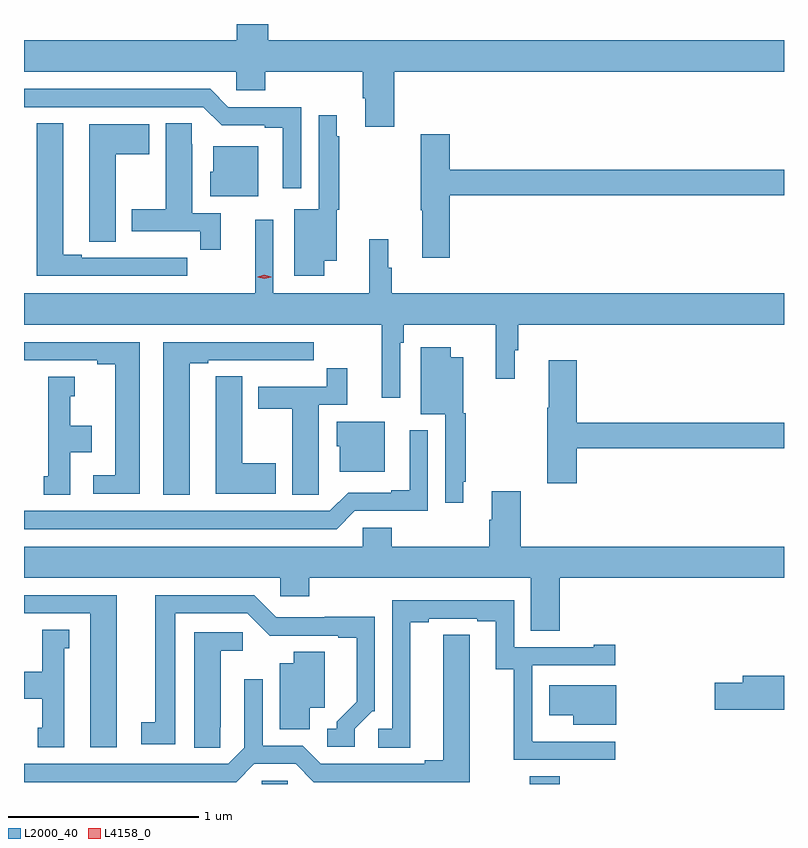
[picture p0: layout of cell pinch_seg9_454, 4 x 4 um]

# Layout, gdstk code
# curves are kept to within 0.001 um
import gdstk
lib = gdstk.Library(unit=1e-6, precision=1e-09)
def R(c, l, rs):  # rectangles x0, y0, x1, y1
    for r in rs: c.add(gdstk.rectangle(r[:2], r[2:], *l))
def P(c, l, *ps):  # polygons
    for p in ps: c.add(gdstk.Polygon(p, *l))
L2000_40 = (2000, 40)
L4158_0 = (4158, 0)

pinch_seg9_454 = lib.new_cell('pinch_seg9_454')
R(pinch_seg9_454, L2000_40, [(172.053,1179.35,172.191,1179.366), (173.464,1179.35,173.624,1179.392)])
P(pinch_seg9_454, L2000_40, [(172.751,1183.1),(174.803,1183.1),(174.803,1183.264),(172.088,1183.264),(172.088,1183.35),(171.923,1183.35),(171.923,1183.264),(170.803,1183.264),(170.803,1183.1),(171.921,1183.1),(171.921,1183.002),(172.073,1183.002),(172.073,1183.1),(172.586,1183.1),(172.586,1182.958),(172.598,1182.958),(172.598,1182.81),(172.751,1182.81)],
  [(172.263,1182.912),(171.879,1182.912),(171.783,1183.008),(170.803,1183.008),(170.803,1182.912),(171.747,1182.912),(171.843,1182.816),(172.07,1182.816),(172.07,1182.804),(172.166,1182.804),(172.166,1182.486),(172.263,1182.486)],
  [(172.384,1182.104),(172.45,1182.104),(172.45,1182.372),(172.462,1182.372),(172.462,1182.758),(172.45,1182.758),(172.45,1182.871),(172.353,1182.871),(172.353,1182.376),(172.226,1182.376),(172.226,1182.024),(172.384,1182.024)],
  [(171.661,1182.12),(171.548,1182.12),(171.548,1182.121),(171.382,1182.121),(171.382,1182.12),(171.106,1182.12),(171.106,1182.135),(171.01,1182.135),(171.01,1182.827),(170.87,1182.827),(170.87,1182.024),(171.661,1182.024)],
  [(171.839,1182.354),(171.688,1182.354),(171.688,1182.716),(171.687,1182.716),(171.687,1182.827),(171.548,1182.827),(171.548,1182.375),(171.371,1182.375),(171.371,1182.258),(171.73,1182.258),(171.73,1182.162),(171.839,1182.162)],
  [(171.286,1182.664),(171.463,1182.664),(171.463,1182.823),(171.146,1182.823),(171.146,1182.313),(171.147,1182.313),(171.147,1182.205),(171.286,1182.205)],
  [(173.045,1182.448),(174.803,1182.448),(174.803,1182.584),(173.045,1182.584),(173.045,1182.769),(172.891,1182.769),(172.891,1182.371),(172.898,1182.371),(172.898,1182.12),(173.045,1182.12)],
  [(172.036,1182.706),(171.8,1182.706),(171.8,1182.573),(171.782,1182.573),(171.782,1182.443),(172.036,1182.443)],
  [(172.782,1181.672),(172.802,1181.672),(172.802,1181.768),(173.287,1181.768),(173.287,1181.484),(173.386,1181.484),(173.386,1181.634),(173.405,1181.634),(173.405,1181.768),(174.803,1181.768),(174.803,1181.932),(172.739,1181.932),(172.739,1182.066),(172.72,1182.066),(172.72,1182.217),(172.621,1182.217),(172.621,1181.932),(172.116,1181.932),(172.116,1182.319),(172.019,1182.319),(172.019,1181.932),(170.803,1181.932),(170.803,1181.768),(172.685,1181.768),(172.685,1181.382),(172.782,1181.382)],
  [(171.412,1181.676),(170.803,1181.676),(170.803,1181.58),(171.188,1181.58),(171.188,1181.56),(171.284,1181.56),(171.284,1180.974),(171.168,1180.974),(171.168,1180.878),(171.412,1180.878)],
  [(171.676,1181.565),(171.772,1181.565),(171.772,1181.58),(172.048,1181.58),(172.048,1181.579),(172.214,1181.579),(172.214,1181.58),(172.327,1181.58),(172.327,1181.676),(171.536,1181.676),(171.536,1180.873),(171.676,1180.873)],
  [(173.116,1180.942),(173.128,1180.942),(173.128,1181.301),(173.116,1181.301),(173.116,1181.596),(173.05,1181.596),(173.05,1181.65),(172.892,1181.65),(172.892,1181.297),(173.019,1181.297),(173.019,1180.83),(173.116,1180.83)],
  [(173.711,1181.116),(174.803,1181.116),(174.803,1181.252),(173.711,1181.252),(173.711,1181.581),(173.564,1181.581),(173.564,1181.329),(173.557,1181.329),(173.557,1180.932),(173.711,1180.932)],
  [(172.353,1180.984),(172.354,1180.984),(172.354,1181.346),(172.505,1181.346),(172.505,1181.539),(172.396,1181.539),(172.396,1181.442),(172.037,1181.442),(172.037,1181.326),(172.214,1181.326),(172.214,1180.873),(172.353,1180.873)],
  [(172.129,1181.037),(171.952,1181.037),(171.952,1181.495),(171.813,1181.495),(171.813,1181.387),(171.812,1181.387),(171.812,1180.877),(172.129,1180.877)],
  [(171.046,1181.096),(171.16,1181.096),(171.16,1181.236),(171.046,1181.236),(171.046,1181.391),(171.07,1181.391),(171.07,1181.494),(170.93,1181.494),(170.93,1180.971),(170.906,1180.971),(170.906,1180.873),(171.046,1180.873)],
  [(172.702,1181.257),(172.448,1181.257),(172.448,1181.127),(172.466,1181.127),(172.466,1180.994),(172.702,1180.994)],
  [(172.545,1180.788),(172.929,1180.788),(172.929,1181.212),(172.832,1181.212),(172.832,1180.897),(172.736,1180.897),(172.736,1180.884),(172.509,1180.884),(172.413,1180.788),(170.803,1180.788),(170.803,1180.692),(172.449,1180.692)],
  [(173.624,1180.436),(174.803,1180.436),(174.803,1180.6),(173.417,1180.6),(173.417,1180.891),(173.264,1180.891),(173.264,1180.742),(173.252,1180.742),(173.252,1180.6),(172.739,1180.6),(172.739,1180.698),(172.587,1180.698),(172.587,1180.6),(170.803,1180.6),(170.803,1180.436),(172.152,1180.436),(172.152,1180.338),(172.304,1180.338),(172.304,1180.436),(173.471,1180.436),(173.471,1180.156),(173.624,1180.156)],
  [(172.545,1179.642),(172.635,1179.732),(172.65,1179.732),(172.65,1180.229),(172.387,1180.229),(172.387,1180.227),(172.131,1180.227),(172.014,1180.344),(171.494,1180.344),(171.494,1179.674),(171.42,1179.674),(171.42,1179.558),(171.598,1179.558),(171.598,1180.248),(171.978,1180.248),(172.096,1180.13),(172.457,1180.131),(172.457,1180.119),(172.553,1180.119),(172.553,1179.782),(172.448,1179.677),(172.448,1179.642),(172.398,1179.642),(172.398,1179.546),(172.545,1179.546)],
  [(171.292,1180.344),(170.803,1180.344),(170.803,1180.248),(171.152,1180.248),(171.152,1179.543),(171.292,1179.543)],
  [(173.914,1179.573),(173.48,1179.573),(173.48,1179.574),(173.478,1179.574),(173.478,1179.975),(173.914,1179.975),(173.914,1180.084),(173.801,1180.084),(173.801,1180.071),(173.382,1180.071),(173.382,1180.317),(172.74,1180.317),(172.74,1179.642),(172.668,1179.642),(172.668,1179.541),(172.837,1179.541),(172.837,1180.201),(172.933,1180.201),(172.933,1180.221),(173.189,1180.221),(173.189,1180.206),(173.285,1180.206),(173.285,1179.955),(173.38,1179.955),(173.38,1179.477),(173.914,1179.477)],
  [(171.016,1180.065),(171.04,1180.065),(171.04,1180.163),(170.9,1180.163),(170.9,1179.94),(170.803,1179.94),(170.803,1179.8),(170.9,1179.8),(170.9,1179.645),(170.876,1179.645),(170.876,1179.543),(171.016,1179.543)],
  [(171.837,1179.649),(171.838,1179.649),(171.838,1180.052),(171.955,1180.052),(171.955,1180.149),(171.698,1180.149),(171.698,1179.541),(171.837,1179.541)],
  [(172.015,1179.456),(172.233,1179.456),(172.329,1179.36),(173.149,1179.36),(173.148,1180.136),(173.009,1180.136),(173.009,1179.476),(172.913,1179.476),(172.913,1179.456),(172.365,1179.456),(172.269,1179.552),(172.059,1179.552),(172.059,1179.901),(171.963,1179.901),(171.963,1179.54),(171.879,1179.456),(170.803,1179.456),(170.803,1179.36),(171.919,1179.36)],
  [(172.306,1179.752),(172.387,1179.752),(172.387,1180.046),(172.223,1180.046),(172.223,1179.985),(172.148,1179.985),(172.148,1179.637),(172.306,1179.637)],
  [(174.803,1179.92),(174.587,1179.92),(174.587,1179.884),(174.438,1179.884),(174.438,1179.742),(174.803,1179.742)],
  [(173.92,1179.871),(173.568,1179.871),(173.568,1179.713),(173.693,1179.713),(173.693,1179.662),(173.92,1179.662)])
P(pinch_seg9_454, L4158_0, [(172.068,1182.009),(172.034,1182.018),(172.033,1182.019),(172.034,1182.019),(172.068,1182.029),(172.103,1182.019),(172.103,1182.019),(172.103,1182.018)])

lib.write_gds('pinch_seg9_454.gds')
